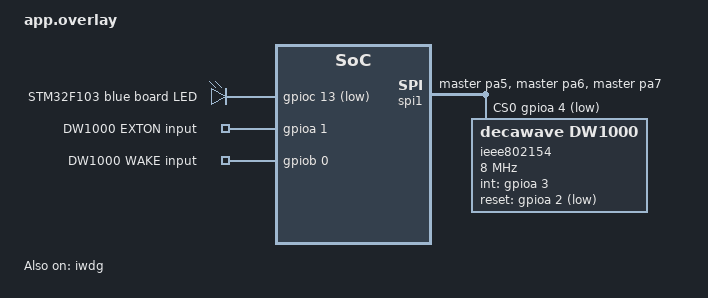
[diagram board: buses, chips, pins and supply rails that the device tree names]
#include <zephyr/dt-bindings/gpio/gpio.h>

/ {
	aliases {
		status-led = &uwb_status_led;
		watchdog0 = &iwdg;
		uwb-exton = &uwb_exton;
		uwb-wake = &uwb_wake;
	};

	uwb_status_leds {
		compatible = "gpio-leds";
		uwb_status_led: status_led {
			gpios = <&gpioc 13 GPIO_ACTIVE_LOW>;
			label = "STM32F103 blue board LED";
		};
	};

	/* Passive input lines from the original STM32 board configuration. */
	uwb_aux_inputs {
		compatible = "gpio-keys";
		uwb_exton: exton {
			gpios = <&gpioa 1 GPIO_ACTIVE_HIGH>;
			label = "DW1000 EXTON input";
		};
		uwb_wake: wake {
			gpios = <&gpiob 0 GPIO_ACTIVE_HIGH>;
			label = "DW1000 WAKE input";
		};
	};
};

/* Existing CubeIDE project uses internal HSI/2 * 16 = 64 MHz. */
&clk_hse { status = "disabled"; };
&clk_hsi { status = "okay"; };
&pll {
	mul = <16>;
	clocks = <&clk_hsi>;
	status = "okay";
};
&rcc {
	clocks = <&pll>;
	clock-frequency = <64000000>;
	ahb-prescaler = <1>;
	apb1-prescaler = <2>;
	apb2-prescaler = <1>;
};

/* PA2 = DW1000 reset, PA3 = IRQ; no board UART may claim these pins. */
&usart1 { status = "disabled"; };
&usart2 { status = "disabled"; };
&usart3 { status = "disabled"; };
&i2c1 { status = "disabled"; };
&i2c2 { status = "disabled"; };
&spi2 { status = "disabled"; };
&adc1 { status = "disabled"; };
&timers1 { status = "disabled"; };
&usb { status = "disabled"; };

&clk_lsi { status = "okay"; };
&iwdg { status = "okay"; };

&spi1 {
	/* PA4 is software CS, so omit the board's AF NSS pinctrl entry. */
	pinctrl-0 = <&spi1_sck_master_pa5 &spi1_miso_master_pa6
		     &spi1_mosi_master_pa7>;
	pinctrl-names = "default";
	cs-gpios = <&gpioa 4 GPIO_ACTIVE_LOW>;
	status = "okay";

	ieee802154: dw1000@0 {
		compatible = "decawave,dw1000";
		reg = <0>;
		spi-max-frequency = <8000000>;
		int-gpios = <&gpioa 3 GPIO_ACTIVE_HIGH>;
		reset-gpios = <&gpioa 2 GPIO_ACTIVE_LOW>;
		status = "okay";
	};
};
